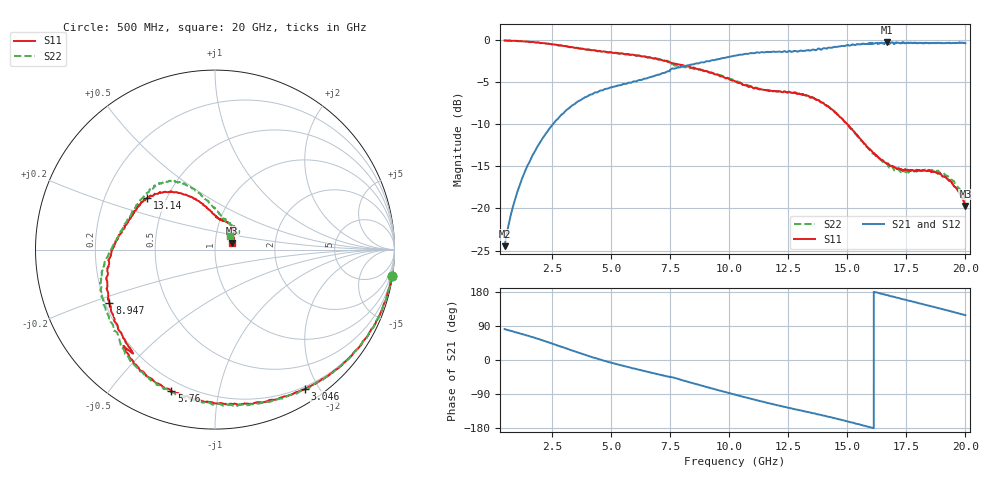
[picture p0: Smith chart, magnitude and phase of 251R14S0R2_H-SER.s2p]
!{251R14S0R2}
!Johanson Technology Inc.
!www.johansontechnology.com
!Test Board Conditions:
!Substrate Type  RO4350B
!Substrate Thickness  20 mil
!Substrate Dk  3.66
!TL Type: GCPW
!TL Trace Width  36 mil
!TL Gap  12 mil
!Electrode orientation  Horizontal
!DUT TOPOLOGY	SERIES
!Mounting Pad LxW  26x36 mil
! Created Mon Mar 16 16:42:33 2020
# mhz S ma R 50
! 2 Port Network Data from SP1.SP block
! freq  magS11  angS11  magS21  angS21  magS12  angS12  magS22  angS22
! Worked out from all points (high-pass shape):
!   19501 points, 500 MHz to 20 GHz, reference 50 ohm
!   highest |S21| = -0.23 dB at 16.66 GHz (marker M1); lowest = -24.5 dB at 500 MHz (marker M2)
!   |S21| within 3 dB of the highest: 7.805 GHz to 7.858 GHz (53.5 MHz wide, 0.683 % of centre); 7.863 GHz to end of sweep
!   lowest |S11| = -19.7 dB at 20 GHz (marker M3), VSWR 1.23, Z = 60.5 + j4.6 ohm
!   |S11| at or under -10 dB: 15.01 GHz to end of sweep
!   |S22| runs from -18.9 to 0.0 dB; largest |S21 - S12| = 0.011
!   S11 on the Smith chart (normalised r, x): 500 MHz: 0, -14; 3.046 GHz: 0.17, -1.83; 5.76 GHz: 0.15, -0.73; 8.947 GHz: 0.22, -0.23; 13.14 GHz: 0.39, +0.29; 20 GHz: 1.21, +0.09
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500  0.998 -8.4  0.05968 81.5  0.05971 81.3  0.9976 -8.4
937  0.993 -15.8  0.113 73.8  0.1128 73.9  0.9924 -16.0
1446  0.9829 -25.0  0.1775 64.7  0.1763 64.6  0.983 -25.3
2201  0.9601 -39.5  0.2731 50.0  0.273 50.0  0.9585 -40.1
3046  0.9237 -57.1  0.3755 31.7  0.3746 32.0  0.9194 -58.9
3750  0.8939 -71.5  0.4446 16.8  0.4454 16.7  0.89 -74.5
4736  0.8564 -89.7  0.5127 -2.4  0.5107 -2.4  0.8563 -94.6
5760  0.8233 -107.2  0.5604 -19.1  0.5579 -19.2  0.8262 -110.4
7000  0.7674 -127.0  0.6237 -37.7  0.6225 -37.9  0.7762 -127.7
7396  0.7444 -132.1  0.6533 -43.5  0.6503 -43.6  0.7547 -134.0
7637  0.7301 -129.9  0.68 -46.1  0.6798 -46.3  0.7165 -141.9
8947  0.6593 -153.2  0.7401 -69.7  0.7405 -69.6  0.6549 -165.2
10250  0.5705 179.5  0.8107 -91.3  0.8106 -91.2  0.577 179.5
11437  0.5087 161.7  0.8491 -110.1  0.8506 -110.2  0.5099 158.9
13141  0.4758 142.9  0.8659 -134.4  0.8649 -134.6  0.4727 128.5
13500  0.4571 137.6  0.8752 -139.8  0.8759 -140.0  0.4602 123.5
15208  0.2944 110.2  0.9421 -165.0  0.9419 -165.0  0.2963 101.2
16663  0.1862 88.0  0.9736 171.5  0.9629 171.6  0.1845 76.0
16750  0.1822 87.9  0.953 170.2  0.9603 170.0  0.1785 74.5
17619  0.1678 77.4  0.9655 156.3  0.9662 156.3  0.1667 55.1
18906  0.1611 55.2  0.961 136.2  0.9649 136.0  0.1633 35.9
20000  0.1034 21.4  0.9605 118.3  0.9683 118.4  0.114 40.9
